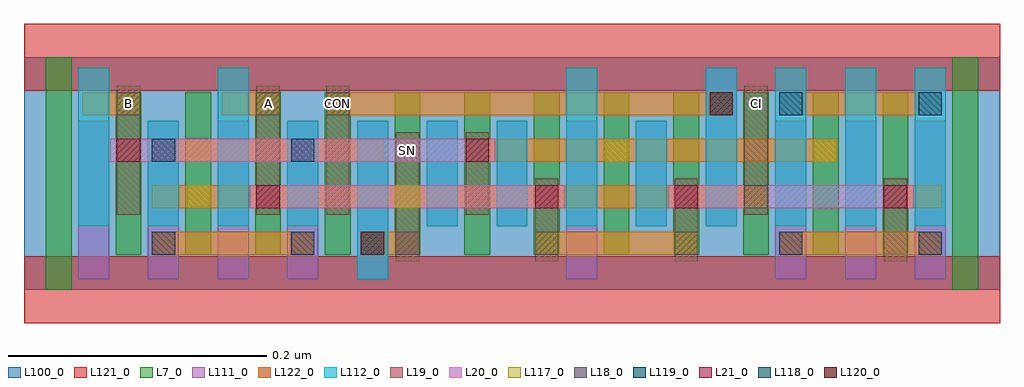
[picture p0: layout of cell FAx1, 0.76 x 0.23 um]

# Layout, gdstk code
import gdstk
lib = gdstk.Library(unit=1e-6, precision=2.5e-10)
def R(c, l, rs):  # rectangles x0, y0, x1, y1
    for r in rs: c.add(gdstk.rectangle(r[:2], r[2:], *l))
def A(c, l, x, y, w, h, nx, ny, dx, dy):  # array of equal rectangles
    R(c, l, [(x+i*dx, y+j*dy, x+i*dx+w, y+j*dy+h) for i in range(nx) for j in range(ny)])
L7_0 = (7, 0)
L18_0 = (18, 0)
L19_0 = (19, 0)
L20_0 = (20, 0)
L21_0 = (21, 0)
L100_0 = (100, 0)
L111_0 = (111, 0)
L112_0 = (112, 0)
L117_0 = (117, 0)
L118_0 = (118, 0)
L119_0 = (119, 0)
L120_0 = (120, 0)
L121_0 = (121, 0)
L122_0 = (122, 0)

fax1 = lib.new_cell('FAx1')
A(fax1, L7_0, 0.071, 0.027, 0.02, 0.126, 12, 1, 0.054, 0)
R(fax1, L7_0, [(0.017,0,0.037,0.18), (0.719,0,0.739,0.18)])
A(fax1, L18_0, 0.288, 0.027, 0.018, 0.018, 3, 1, 0.108, 0)
R(fax1, L18_0, [(0.558,0.063,0.576,0.081), (0.666,0.063,0.684,0.081), (0.342,0.099,0.36,0.117), (0.072,0.135,0.09,0.153), (0.18,0.135,0.198,0.153), (0.234,0.135,0.252,0.153)])
R(fax1, L19_0, [(0.288,0.022,0.306,0.122), (0.396,0.022,0.414,0.086), (0.504,0.022,0.522,0.086), (0.666,0.022,0.684,0.086), (0.072,0.058,0.09,0.158), (0.18,0.058,0.198,0.158), (0.234,0.058,0.252,0.158), (0.342,0.058,0.36,0.122), (0.558,0.058,0.576,0.158)])
R(fax1, L20_0, [(0.175,0.063,0.419,0.081), (0.499,0.063,0.689,0.081), (0.067,0.099,0.365,0.117)])
R(fax1, L21_0, [(0.18,0.063,0.198,0.081), (0.396,0.063,0.414,0.081), (0.504,0.063,0.522,0.081), (0.666,0.063,0.684,0.081), (0.072,0.099,0.09,0.117), (0.342,0.099,0.36,0.117)])
R(fax1, L100_0, [(0,0,0.756,0.18)])
A(fax1, L111_0, 0.042, 0.008, 0.024, 0.123, 5, 1, 0.054, 0)
A(fax1, L111_0, 0.582, 0.008, 0.024, 0.123, 3, 1, 0.054, 0)
R(fax1, L111_0, [(0.42,0.008,0.444,0.131), (0.312,0.049,0.336,0.131), (0.366,0.049,0.39,0.131), (0.474,0.049,0.498,0.131), (0.528,0.049,0.552,0.172)])
A(fax1, L112_0, 0.096, 0.049, 0.024, 0.082, 3, 1, 0.108, 0)
A(fax1, L112_0, 0.528, 0.049, 0.024, 0.123, 4, 1, 0.054, 0)
R(fax1, L112_0, [(0.258,0.008,0.282,0.131), (0.042,0.049,0.066,0.172), (0.15,0.049,0.174,0.172), (0.366,0.049,0.39,0.131), (0.42,0.049,0.444,0.172), (0.474,0.049,0.498,0.131)])
R(fax1, L117_0, [(0.396,0.027,0.414,0.045), (0.504,0.027,0.522,0.045), (0.126,0.063,0.144,0.081), (0.288,0.063,0.306,0.081), (0.558,0.063,0.576,0.081), (0.666,0.063,0.684,0.081), (0.342,0.099,0.36,0.117), (0.45,0.099,0.468,0.117), (0.612,0.099,0.63,0.117), (0.072,0.135,0.09,0.153), (0.18,0.135,0.198,0.153), (0.234,0.135,0.252,0.153)])
R(fax1, L118_0, [(0.099,0.027,0.117,0.045), (0.207,0.027,0.225,0.045), (0.585,0.027,0.603,0.045), (0.693,0.027,0.711,0.045)])
R(fax1, L119_0, [(0.261,0.027,0.279,0.045), (0.099,0.099,0.117,0.117), (0.207,0.099,0.225,0.117), (0.531,0.135,0.549,0.153), (0.585,0.135,0.603,0.153), (0.693,0.135,0.711,0.153)])
R(fax1, L120_0, [(0.261,0.027,0.279,0.045), (0.531,0.135,0.549,0.153)])
R(fax1, L121_0, [(0,-0.026,0.756,0.026), (0,0.154,0.756,0.206)])
R(fax1, L122_0, [(0.099,0.027,0.225,0.045), (0.261,0.027,0.306,0.045), (0.396,0.027,0.522,0.045), (0.585,0.027,0.711,0.045), (0.099,0.063,0.576,0.081), (0.666,0.063,0.711,0.081), (0.099,0.099,0.279,0.117), (0.342,0.099,0.63,0.117), (0.045,0.135,0.09,0.153), (0.153,0.135,0.198,0.153), (0.234,0.135,0.549,0.153), (0.585,0.135,0.711,0.153)])
fax1.add(gdstk.Label('SN', (0.297,0.108), layer=19, texttype=251))
fax1.add(gdstk.Label('CON', (0.243,0.144), layer=19, texttype=251))
fax1.add(gdstk.Label('CI', (0.567,0.144), layer=19, texttype=251))
fax1.add(gdstk.Label('B', (0.081,0.144), layer=19, texttype=251))
fax1.add(gdstk.Label('A', (0.189,0.144), layer=19, texttype=251))

lib.write_gds('FAx1.gds')
